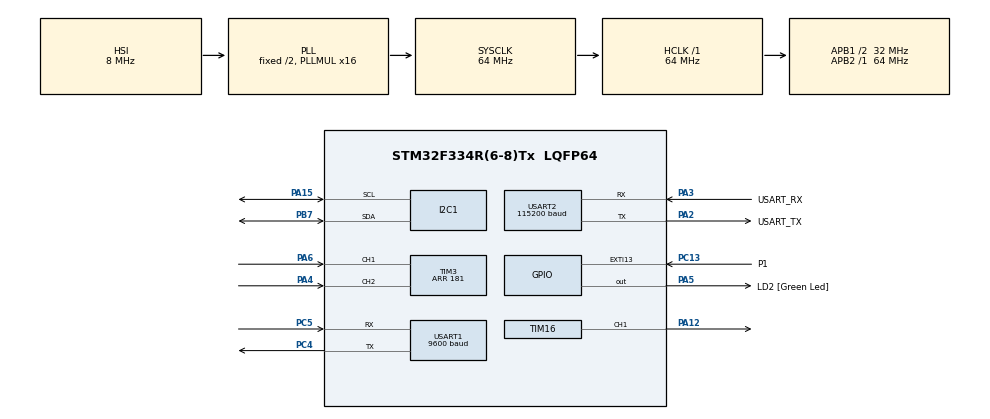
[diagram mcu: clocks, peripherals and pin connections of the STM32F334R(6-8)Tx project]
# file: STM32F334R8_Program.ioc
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Mcu.Family=STM32F3
Mcu.Name=STM32F334R(6-8)Tx
Mcu.Package=LQFP64
NVIC.EXTI15_10_IRQn=true\:0\:0\:false\:false\:true\:true\:true\:true
NVIC.PriorityGroup=NVIC_PRIORITYGROUP_0
PA12.Signal=S_TIM16_CH1
PA13.GPIO_Label=TMS
PA13.Mode=Serial_Wire
PA13.Signal=SYS_JTMS-SWDIO
PA14.GPIO_Label=TCK
PA14.Mode=Serial_Wire
PA14.Signal=SYS_JTCK-SWCLK
PA15.Mode=I2C
PA15.Signal=I2C1_SCL
PA2.GPIO_Label=USART_TX
PA2.Mode=Asynchronous
PA2.Signal=USART2_TX
PA3.GPIO_Label=USART_RX
PA3.Mode=Asynchronous
PA3.Signal=USART2_RX
PA4.Signal=S_TIM3_CH2
PA5.GPIO_Label=LD2 [Green Led]
PA5.Signal=GPIO_Output
PA6.Signal=S_TIM3_CH1
PB3.GPIO_Label=SWO
PB3.Signal=SYS_JTDO-TRACESWO
PB7.Mode=I2C
PB7.Signal=I2C1_SDA
PC13.GPIO_Label=P1
PC13.GPIO_ModeDefaultEXTI=GPIO_MODE_IT_RISING
PC13.Signal=GPXTI13
PC14\ /\ OSC32_IN.Mode=LSE-External-Oscillator
PC14\ /\ OSC32_IN.Signal=RCC_OSC32_IN
PC15\ /\ OSC32_OUT.GPIO_Label=RCC_OSC32_OUT
PC15\ /\ OSC32_OUT.Mode=LSE-External-Oscillator
PC15\ /\ OSC32_OUT.Signal=RCC_OSC32_OUT
PC4.Mode=Asynchronous
PC4.Signal=USART1_TX
PC5.Mode=Asynchronous
PC5.Signal=USART1_RX
PF0\ /\ OSC_IN.Mode=HSE-External-Clock-Source
PF0\ /\ OSC_IN.Signal=RCC_OSC_IN
PF1\ /\ OSC_OUT.Signal=RCC_OSC_OUT
ProjectManager.HeapSize=0x200
ProjectManager.StackSize=0x400
ProjectManager.TargetToolchain=STM32CubeIDE
RCC.AHBFreq_Value=64000000
RCC.APB1CLKDivider=RCC_HCLK_DIV2
RCC.APB1Freq_Value=32000000
RCC.APB1TimFreq_Value=64000000
RCC.APB2Freq_Value=64000000
RCC.APB2TimFreq_Value=64000000
RCC.CortexFreq_Value=64000000
RCC.FLatency-AdvancedSettings=FLASH_LATENCY_2
RCC.HCLKFreq_Value=64000000
RCC.HSE_VALUE=8000000
RCC.HSI_VALUE=8000000
RCC.PLLMUL=RCC_PLL_MUL16
RCC.SYSCLKFreq_VALUE=64000000
RCC.SYSCLKSourceVirtual=RCC_SYSCLKSOURCE_PLLCLK
SH.S_TIM16_CH1.0=TIM16_CH1,PWM Generation1 CH1
SH.S_TIM3_CH1.0=TIM3_CH1,Encoder_Interface
SH.S_TIM3_CH2.0=TIM3_CH2,Encoder_Interface
TIM16.AutoReloadPreload=TIM_AUTORELOAD_PRELOAD_ENABLE
TIM16.Channel=TIM_CHANNEL_1
TIM16.Period=19999
TIM16.Prescaler=63
TIM3.Period=181
USART1.BaudRate=9600
USART1.VirtualMode-Asynchronous=VM_ASYNC
USART2.BaudRate=115200
USART2.VirtualMode-Asynchronous=VM_ASYNC
VP_TIM16_VS_ClockSourceINT.Mode=Enable_Timer
board=NUCLEO-F334R8

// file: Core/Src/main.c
/* USER CODE BEGIN Header */
/**
  ******************************************************************************
  * @file           : main.c
  * @brief          : Main program body
  ******************************************************************************
  * @attention
  *
  * Copyright (c) 2022 STMicroelectronics.
  * All rights reserved.
  *
  * This software is licensed under terms that can be found in the LICENSE file
  * in the root directory of this software component.
  * If no LICENSE file comes with this software, it is provided AS-IS.
  *
  ******************************************************************************
  */
/* USER CODE END Header */
#include "main.h"
#include "i2c.h"
#include "tim.h"
#include "usart.h"
#include "gpio.h"

/* USER CODE BEGIN Includes */
#include <stdio.h>
#include <string.h>
#include "servo.h"
#include "lcd_i2c.h"
#include "menu.h"
#include "common.h"
#include "menu_callbacks.h"
#include <stdbool.h>
/* USER CODE END Includes */

/* USER CODE BEGIN PV */
struct lcd_disp disp;

/* USER CODE END PV */

void SystemClock_Config(void);

int main(void)
{

  /* MCU Configuration--------------------------------------------------------*/

  /* Reset of all peripherals, Initializes the Flash interface and the Systick. */
  HAL_Init();

  /* Configure the system clock */
  SystemClock_Config();

  /* Initialize all configured peripherals */
  MX_GPIO_Init();
  MX_USART2_UART_Init();
  MX_I2C1_Init();
  MX_TIM3_Init();
  MX_TIM16_Init();
  MX_USART1_UART_Init();
  /* USER CODE BEGIN 2 */
  HAL_TIM_PWM_Start(&htim16, TIM_CHANNEL_1 );//incjalizuje timer16 chanel1 jako pwm output
    HAL_TIM_Encoder_Start(&htim3, TIM_CHANNEL_ALL);
    disp.addr= (0x27<<1);
    disp.bl= true;
    lcd_init(&disp);
    sprintf((char*)disp.f_line,"costam");
    sprintf((char*)disp.s_line,"dziala");
    lcd_display(&disp);
     	  //char msg[64];
    	set_ang(500);
     	//uint8_t oldcount=0;
     	menu_refresh(&disp);

  /* USER CODE END 2 */

  /* Infinite loop */
  /* USER CODE BEGIN WHILE */
  while (1)
  {
	  //count=__HAL_TIM_GET_COUNTER(&htim3)/2;
	  	// if(oldcount!=count){
	  	//	 oldcount=count;
	  	//	 sprintf((char*)msg,"NIGGA: %d\n",count);
	  	// 	 HAL_UART_Transmit(&huart2, (uint8_t*)msg, strlen(msg), 1000);
	  	 	 //change_cursor(&disp,4);
	  	//	 sprintf((char*)disp.s_line,"%d",count);
	  	// 	lcd_display(&disp);
	  	// }
	  	  	key_next_press();
	  	  	  key_prev_press();
	  	  	menu_refresh(&disp);
	  	  	HAL_Delay(10);
    /* USER CODE END WHILE */

}
}
void SystemClock_Config(void)
{
  RCC_OscInitTypeDef RCC_OscInitStruct = {0};
  RCC_ClkInitTypeDef RCC_ClkInitStruct = {0};
  RCC_PeriphCLKInitTypeDef PeriphClkInit = {0};

  /** Initializes the RCC Oscillators according to the specified parameters
  * in the RCC_OscInitTypeDef structure.
  */
  RCC_OscInitStruct.OscillatorType = RCC_OSCILLATORTYPE_HSI;
  RCC_OscInitStruct.HSIState = RCC_HSI_ON;
  RCC_OscInitStruct.HSICalibrationValue = RCC_HSICALIBRATION_DEFAULT;
  RCC_OscInitStruct.PLL.PLLState = RCC_PLL_ON;
  RCC_OscInitStruct.PLL.PLLSource = RCC_PLLSOURCE_HSI;
  RCC_OscInitStruct.PLL.PLLMUL = RCC_PLL_MUL16;
  if (HAL_RCC_OscConfig(&RCC_OscInitStruct) != HAL_OK)
  {
    Error_Handler();
  }

  /** Initializes the CPU, AHB and APB buses clocks
  */
  RCC_ClkInitStruct.ClockType = RCC_CLOCKTYPE_HCLK|RCC_CLOCKTYPE_SYSCLK
                              |RCC_CLOCKTYPE_PCLK1|RCC_CLOCKTYPE_PCLK2;
  RCC_ClkInitStruct.SYSCLKSource = RCC_SYSCLKSOURCE_PLLCLK;
  RCC_ClkInitStruct.AHBCLKDivider = RCC_SYSCLK_DIV1;
  RCC_ClkInitStruct.APB1CLKDivider = RCC_HCLK_DIV2;
  RCC_ClkInitStruct.APB2CLKDivider = RCC_HCLK_DIV1;

  if (HAL_RCC_ClockConfig(&RCC_ClkInitStruct, FLASH_LATENCY_2) != HAL_OK)
  {
    Error_Handler();
  }
  PeriphClkInit.PeriphClockSelection = RCC_PERIPHCLK_USART1|RCC_PERIPHCLK_I2C1;
  PeriphClkInit.Usart1ClockSelection = RCC_USART1CLKSOURCE_PCLK1;
  PeriphClkInit.I2c1ClockSelection = RCC_I2C1CLKSOURCE_HSI;
  if (HAL_RCCEx_PeriphCLKConfig(&PeriphClkInit) != HAL_OK)
  {
    Error_Handler();
  }
}

/* USER CODE BEGIN 4 */
void HAL_GPIO_EXTI_Callback(uint16_t GPIO_Pin)
{
	if(GPIO_Pin== P1_Pin)
	{
		key_enter_press();

	}
}
/* USER CODE END 4 */

void Error_Handler(void)
{
  __disable_irq();
  while (1)
  {
  }
}
